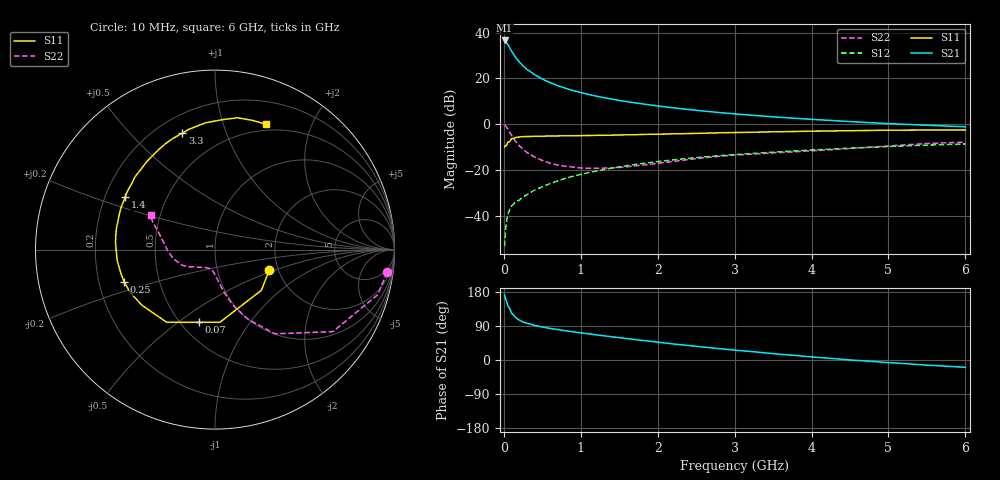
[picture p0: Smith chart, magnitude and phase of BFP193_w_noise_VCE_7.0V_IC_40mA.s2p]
! Infineon Technologies  Discrete & RF Semiconductors
! BFP193
! VCE =  7.0 V,  IC =  40 mA
! Common Emitter S-Parameters:  Jan 2017
# GHz  S  MA  R  50
!  f  S11  S21  S12  S22
! GHz  MAG  ANG  MAG  ANG  MAG  ANG  MAG  ANG
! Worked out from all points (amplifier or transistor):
!   77 points, 10 MHz to 6 GHz, reference 50 ohm
!   highest |S21| = 36.6 dB at 10 MHz (marker M1)
!   |S21| within 3 dB of that: start of sweep to 72.68 MHz
!   unconditionally stable (mu >= 1): 648.3 MHz to 2.42 GHz
!   at 130 MHz: K = 0.54, MSG = 32.5 dB, |S12| = -34.6 dB
!   at 2.2 GHz: K = 1.01, MAG = 10.7 dB, |S12| = -15.5 dB
!   at 6 GHz: K = 0.91, MSG = 3.7 dB, |S12| = -8.6 dB
!   lowest NFmin = 1.38 dB at 450 MHz
!   S11 on the Smith chart (normalised r, x): 10 MHz: 1.79, -0.46; 70 MHz: 0.61, -0.60; 250 MHz: 0.31, -0.16; 1.4 GHz: 0.28, +0.25; 3.3 GHz: 0.30, +0.71; 6 GHz: 0.43, +1.40
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0.01  0.3234 -21.1  67.28 171.4  0.0022 81.4  0.9672 -7.5
0.02  0.3437 -41.3  66.15 163.9  0.0043 79.4  0.9407 -15.5
0.05  0.406 -86.2  55.61 144.1  0.0107 65.3  0.8004 -34.8
0.07  0.4152 -102.7  48.52 137.6  0.013 62.7  0.7012 -41.2
0.1  0.4861 -123.6  39.59 123.7  0.0165 60.2  0.5756 -54.6
0.15  0.5115 -142.6  29.25 112.5  0.02 57.3  0.4289 -64.7
0.2  0.5291 -153.0  22.92 105.5  0.0222 58.2  0.3409 -70.9
0.25  0.5376 -160.5  18.72 100.3  0.0259 59.1  0.2839 -74.9
0.3  0.5407 -165.7  15.77 96.9  0.0293 61.9  0.2423 -78.0
0.4  0.5481 -173.3  12.04 91.2  0.0366 63.4  0.1922 -82.4
0.5  0.5504 -179.3  9.682 87.0  0.0433 65.2  0.1623 -86.0
0.6  0.5555 176.1  8.122 83.4  0.0509 65.5  0.1421 -89.8
0.7  0.5578 172.3  6.975 80.3  0.0581 66.8  0.1289 -92.5
0.9  0.5626 164.9  5.442 74.4  0.0736 66.0  0.1162 -99.0
1.1  0.5697 158.5  4.485 69.1  0.0883 64.9  0.1103 -105.5
1.4  0.5797 149.7  3.551 61.4  0.1104 62.5  0.1122 -116.6
2.1  0.6126 130.8  2.399 44.8  0.1603 54.7  0.1476 -139.1
3.1  0.6649 109.3  1.636 24.4  0.2241 42.5  0.2174 -160.7
3.3  0.6741 105.6  1.542 20.8  0.2355 40.2  0.2273 -164.6
4.1  0.7106 92.8  1.254 6.6  0.2804 30.9  0.2697 178.8
5.1  0.7453 79.0  1.017 -8.1  0.3319 19.5  0.3453 160.4
6  0.754 67.8  0.881 -19.3  0.3724 9.5  0.408 151.6
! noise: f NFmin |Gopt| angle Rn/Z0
0.45  1.38  0.38  -172  0.08
0.9  1.43  0.41  -167  0.08
1.9  2.05  0.59  -135  0.2
2.4  2.37  0.63  -120  0.42
